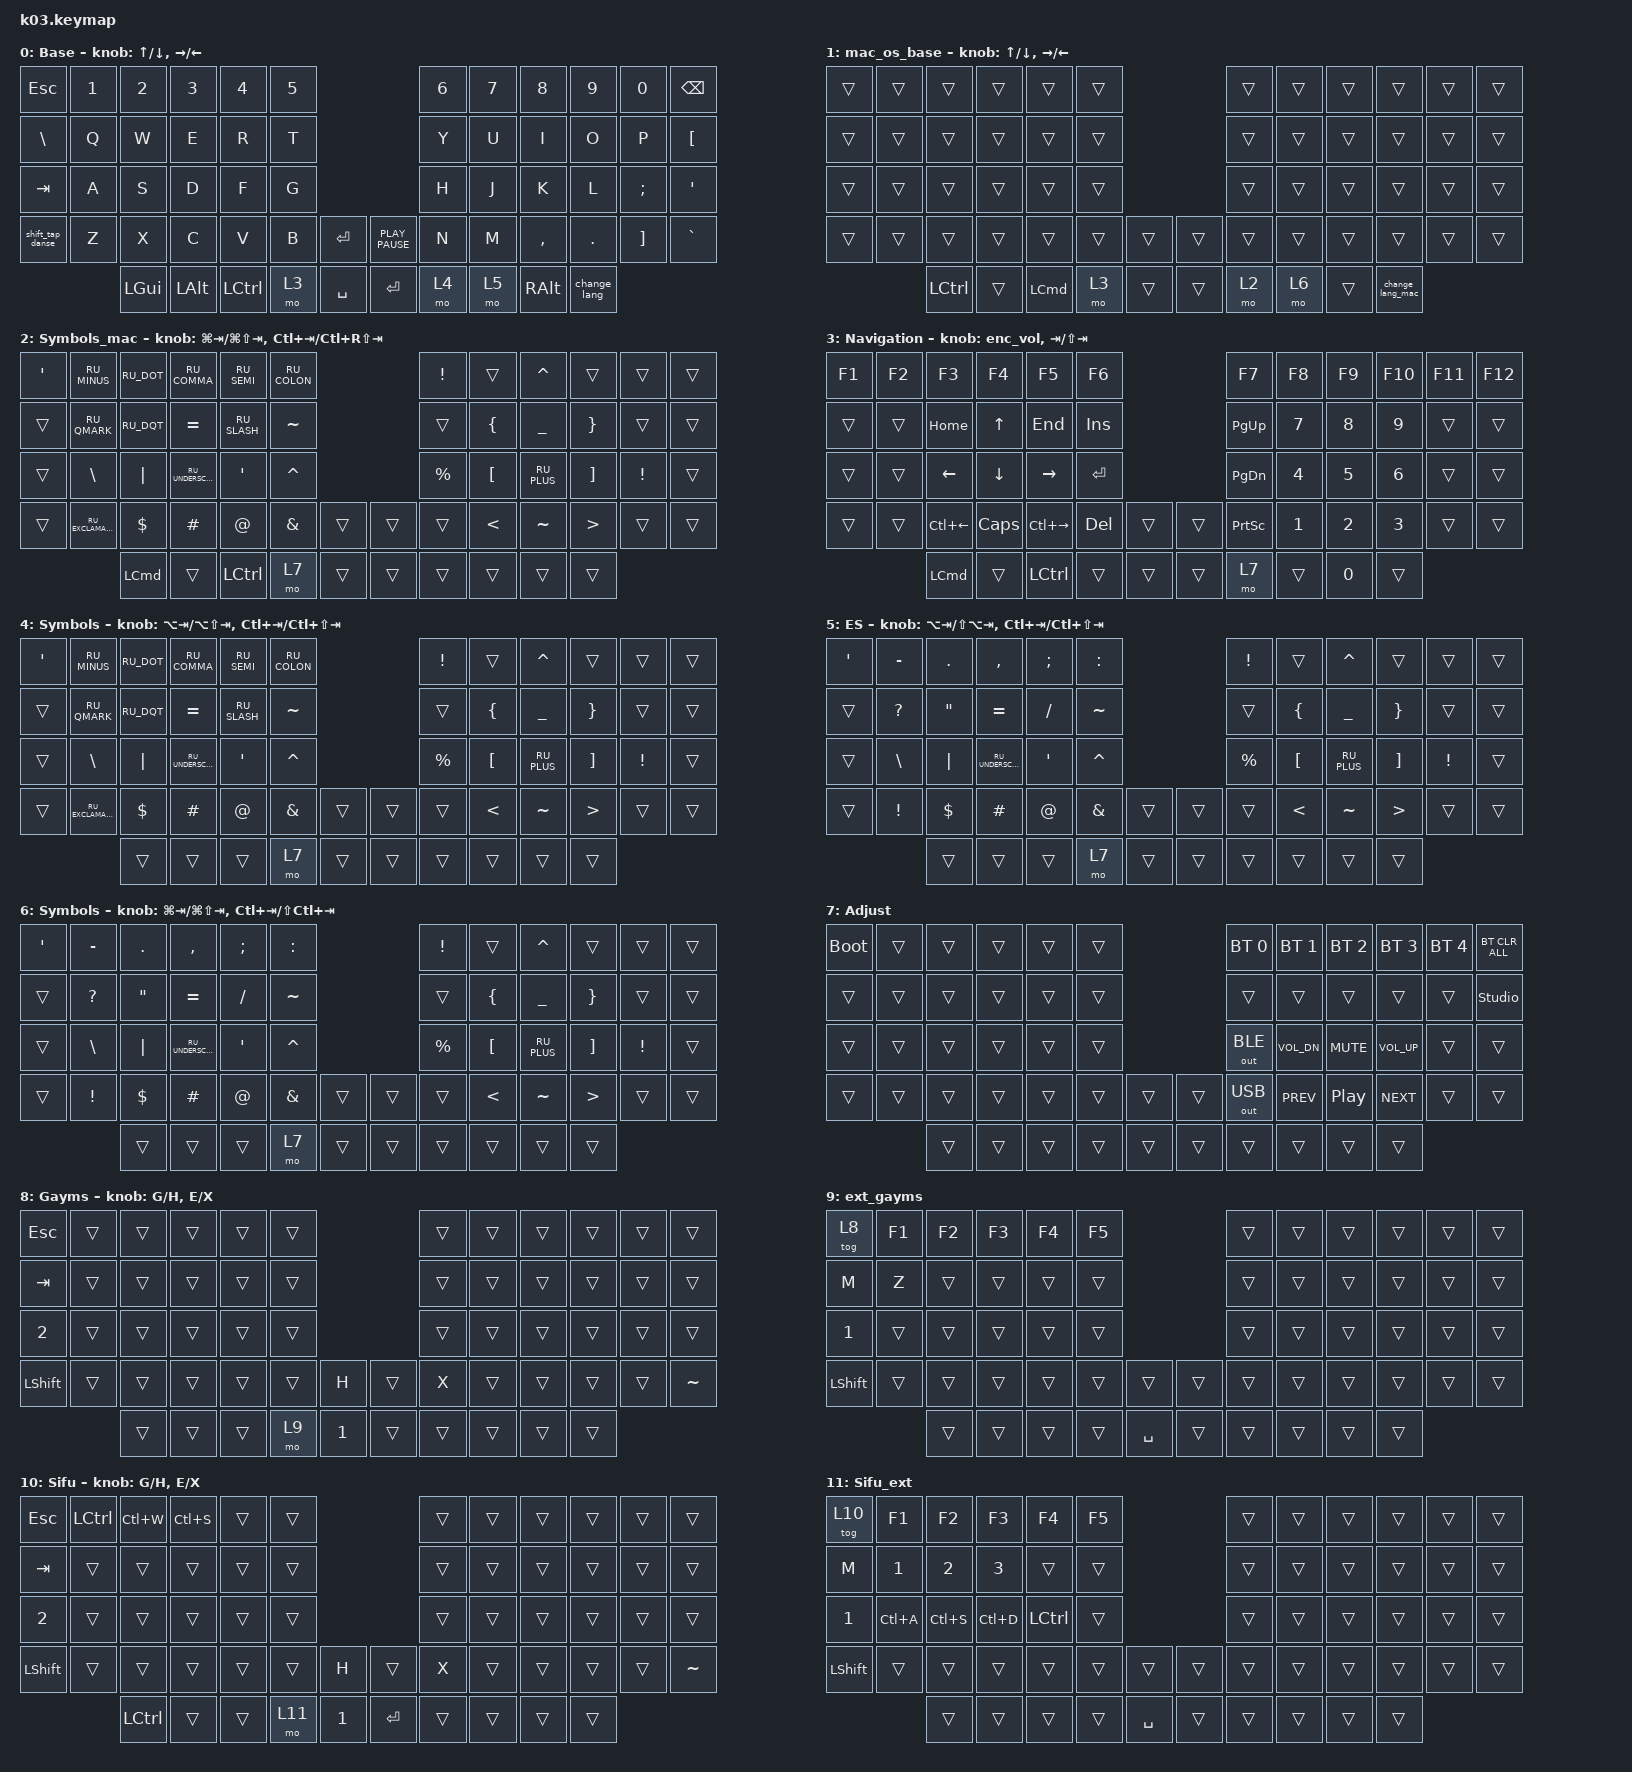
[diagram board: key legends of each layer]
#include "keys_ru.h"
#include <behaviors.dtsi>
#include <dt-bindings/zmk/bt.h>
#include <dt-bindings/zmk/keys.h>
#include <dt-bindings/zmk/outputs.h>

/ {
    behaviors {
        enc_vol: enc_vol {
            compatible = "zmk,behavior-sensor-rotate";
            label = "ENC_VOL";
            #sensor-binding-cells = <0>;
            bindings = <&kp C_VOL_UP>, <&kp C_VOL_DN>;

            tap-ms = <0>;
        };

        enc_up_down: enc_up_down {
            compatible = "zmk,behavior-sensor-rotate";
            label = "ENC_UP_DOWN";
            #sensor-binding-cells = <0>;
            bindings = <&kp UP>, <&kp DOWN>;

            tap-ms = <0>;
        };

        enc_left_right: enc_left_right {
            compatible = "zmk,behavior-sensor-rotate";
            label = "ENC_LEFT_RIGHT";
            #sensor-binding-cells = <0>;
            bindings = <&kp RIGHT>, <&kp LEFT>;

            tap-ms = <0>;
        };

        switch_window: switch_window {
            compatible = "zmk,behavior-sensor-rotate";
            label = "SWITCH_WINDOW";
            #sensor-binding-cells = <0>;
            bindings = <&kp LA(TAB)>, <&kp LS(LA(TAB))>;
        };

        switch_tab: switch_tab {
            compatible = "zmk,behavior-sensor-rotate";
            label = "SWITCH_TAB";
            #sensor-binding-cells = <0>;
            bindings = <&kp LC(TAB)>, <&kp LC(LS(TAB))>;
        };

        game_g_h: game_g_h {
            compatible = "zmk,behavior-sensor-rotate";
            label = "GAME_G_H";
            #sensor-binding-cells = <0>;
            bindings = <&kp G>, <&kp H>;
        };

        game_e_x: game_e_x {
            compatible = "zmk,behavior-sensor-rotate";
            label = "GAME_E_X";
            #sensor-binding-cells = <0>;
            bindings = <&kp E>, <&kp X>;
        };

        mac_switch_window: mac_switch_window {
            compatible = "zmk,behavior-sensor-rotate";
            label = "MAC_SWITCH_WINDOW";
            #sensor-binding-cells = <0>;
            bindings = <&kp LG(TAB)>, <&kp LG(LS(TAB))>;
        };

        enc_tabbing: enc_tabbing {
            compatible = "zmk,behavior-sensor-rotate";
            label = "ENC_TABBING";
            #sensor-binding-cells = <0>;
            bindings = <&kp TAB>, <&kp LS(TAB)>;
        };

        shift_tap_danse: shift_tap_danse {
            compatible = "zmk,behavior-tap-dance";
            label = "SHIFT_TAP_DANSE";
            #binding-cells = <0>;
            bindings = <&sk LSHFT>, <&kp LEFT_SHIFT>;
        };

        rotate_with_param: rotate_with_param {
            compatible = "zmk,behavior-sensor-rotate-var";
            label = "ROTATE_WITH_PARAM";
            #sensor-binding-cells = <2>;
            bindings = <&kp>, <&kp>;

            tap-ms = <0>;
        };
    };

    combos {
        compatible = "zmk,combos";

        dot_slash {
            bindings = <&dot_slash>;
            key-positions = <2 3>;
            layers = <0 1>;
        };
    };

    macros {
        change_lang: change_lang {
            compatible = "zmk,behavior-macro";
            #binding-cells = <0>;
            bindings = <&kp LG(SPACE)>;
            label = "CHANGE_LANG";
        };

        dot_slash: dot_slash {
            compatible = "zmk,behavior-macro";
            #binding-cells = <0>;
            bindings = <&kp RU_DOT &kp RU_SLASH>;
            label = "DOT_SLASH";
        };

        public_compleate: public_compleate {
            compatible = "zmk,behavior-macro";
            #binding-cells = <0>;
            bindings = <&kp P &kp U &kp B &kp L &kp I &kp C &kp SPACE>;
            label = "PUBLIC_COMPLEATE";
        };

        private_cmpl: private_cmpl {
            compatible = "zmk,behavior-macro";
            #binding-cells = <0>;
            bindings = <&kp P &kp R &kp I &kp V &kp A &kp T &kp E &kp SPACE>;
            label = "PRIVATE_CMPL";
        };

        static_cmpl: static_cmpl {
            compatible = "zmk,behavior-macro";
            #binding-cells = <0>;
            bindings = <&kp S &kp T &kp A &kp T &kp I &kp C &kp SPACE>;
            label = "STATIC_CMPL";
        };

        import_cmlp: import_cmlp {
            compatible = "zmk,behavior-macro";
            #binding-cells = <0>;
            bindings = <&kp I &kp M &kp P &kp O &kp R &kp T &kp SPACE>;
            label = "IMPORT_CMLP";
        };

        ternary_cmpl: ternary_cmpl {
            compatible = "zmk,behavior-macro";
            #binding-cells = <0>;
            bindings = <&kp QMARK &kp SPACE &kp SPACE &kp COLON &kp SPACE &kp LEFT &kp LEFT &kp LEFT>;
            label = "TERNARY_CMPL";
        };

        in_string_cmpl: in_string_cmpl {
            compatible = "zmk,behavior-macro";
            #binding-cells = <0>;
            bindings = <&kp BSLH &kp LPAR &kp RPAR &kp LEFT>;
            label = "IN_STRING_CMPL";
        };

        change_lang_mac: change_lang_mac {
            compatible = "zmk,behavior-macro";
            #binding-cells = <0>;
            bindings = <&kp LC(SPACE)>;
            label = "CHANGE_LANG_MAC";
        };
    };

    keymap {
        compatible = "zmk,keymap";

        base {
            bindings = <
&kp ESC           &kp N1  &kp N2    &kp N3    &kp N4     &kp N5                                 &kp N6  &kp N7  &kp N8     &kp N9        &kp N0             &kp BSPC
&kp BACKSLASH     &kp Q   &kp W     &kp E     &kp R      &kp T                                  &kp Y   &kp U   &kp I      &kp O         &kp P              &kp LEFT_BRACKET
&kp TAB           &kp A   &kp S     &kp D     &kp F      &kp G                                  &kp H   &kp J   &kp K      &kp L         &kp SEMI           &kp SQT
&shift_tap_danse  &kp Z   &kp X     &kp C     &kp V      &kp B   &kp ENTER    &kp K_PLAY_PAUSE  &kp N   &kp M   &kp COMMA  &kp DOT       &kp RIGHT_BRACKET  &kp GRAVE
                          &kp LGUI  &kp LALT  &kp LCTRL  &mo 3   &kp SPACE    &kp ENTER         &mo 4   &mo 5   &kp RALT   &change_lang
            >;

            display-name = "Base";
            sensor-bindings =
                <&rotate_with_param UP DOWN>,
                <&rotate_with_param RIGHT_ARROW LEFT_ARROW>;
        };

        mac_os_base {
            bindings = <
&trans  &trans  &trans     &trans  &trans    &trans                    &trans  &trans  &trans  &trans            &trans  &trans
&trans  &trans  &trans     &trans  &trans    &trans                    &trans  &trans  &trans  &trans            &trans  &trans
&trans  &trans  &trans     &trans  &trans    &trans                    &trans  &trans  &trans  &trans            &trans  &trans
&trans  &trans  &trans     &trans  &trans    &trans  &trans    &trans  &trans  &trans  &trans  &trans            &trans  &trans
                &kp LCTRL  &trans  &kp LCMD  &mo 3   &trans    &trans  &mo 2   &mo 6   &trans  &change_lang_mac
            >;

            sensor-bindings =
                <&rotate_with_param UP DOWN_ARROW>,
                <&rotate_with_param RIGHT LEFT_ARROW>;

            label = "mac_os_base";
        };

        sim_mac {
            display-name = "Symbols_mac";
            bindings = <
&kp APOSTROPHE  &kp RU_MINUS        &kp RU_DOT  &kp RU_COMMA       &kp RU_SEMI       &kp RU_COLON                     &kp EXCL   &trans            &kp CARET    &trans             &trans    &trans
&trans          &kp RU_QMARK        &kp RU_DQT  &kp EQUAL          &kp RU_SLASH      &kp TILDE                        &trans     &kp LEFT_BRACE    &kp UNDER    &kp RIGHT_BRACE    &trans    &trans
&trans          &kp BSLH            &kp PIPE    &kp RU_UNDERSCORE  &kp SINGLE_QUOTE  &kp CARET                        &kp PRCNT  &kp LEFT_BRACKET  &kp RU_PLUS  &kp RIGHT_BRACKET  &kp EXCL  &trans
&trans          &kp RU_EXCLAMATION  &kp DOLLAR  &kp HASH           &kp AT_SIGN       &kp AMPERSAND  &trans    &trans  &trans     &kp LESS_THAN     &kp TILDE    &kp GREATER_THAN   &trans    &trans
                                    &kp LCMD    &trans             &kp LCTRL         &mo 7          &trans    &trans  &trans     &trans            &trans       &trans
            >;

            sensor-bindings =
                <&rotate_with_param LG(TAB) LG(LS(TAB))>,
                <&rotate_with_param LC(TAB) LC(RS(TAB))>;
        };

        nav {
            display-name = "Navigation";
            sensor-bindings = <&enc_vol>, <&rotate_with_param TAB LS(TAB)>;

            bindings = <
&kp F1  &kp F2  &kp F3        &kp F4    &kp F5         &kp F6                     &kp F7           &kp F8  &kp F9  &kp F10  &kp F11  &kp F12
&trans  &trans  &kp HOME      &kp UP    &kp END        &kp INS                    &kp PG_UP        &kp N7  &kp N8  &kp N9   &trans   &trans
&trans  &trans  &kp LEFT      &kp DOWN  &kp RIGHT      &kp RET                    &kp PG_DN        &kp N4  &kp N5  &kp N6   &trans   &trans
&trans  &trans  &kp LC(LEFT)  &kp CAPS  &kp LC(RIGHT)  &kp DEL  &trans    &trans  &kp PRINTSCREEN  &kp N1  &kp N2  &kp N3   &trans   &trans
                &kp LCMD      &trans    &kp LCTRL      &trans   &trans    &trans  &mo 7            &trans  &kp N0  &trans
            >;
        };

        sym {
            bindings = <
&kp APOSTROPHE  &kp RU_MINUS        &kp RU_DOT  &kp RU_COMMA       &kp RU_SEMI       &kp RU_COLON                     &kp EXCL   &trans            &kp CARET    &trans             &trans    &trans
&trans          &kp RU_QMARK        &kp RU_DQT  &kp EQUAL          &kp RU_SLASH      &kp TILDE                        &trans     &kp LEFT_BRACE    &kp UNDER    &kp RIGHT_BRACE    &trans    &trans
&trans          &kp BSLH            &kp PIPE    &kp RU_UNDERSCORE  &kp SINGLE_QUOTE  &kp CARET                        &kp PRCNT  &kp LEFT_BRACKET  &kp RU_PLUS  &kp RIGHT_BRACKET  &kp EXCL  &trans
&trans          &kp RU_EXCLAMATION  &kp DOLLAR  &kp HASH           &kp AT_SIGN       &kp AMPERSAND  &trans    &trans  &trans     &kp LESS_THAN     &kp TILDE    &kp GREATER_THAN   &trans    &trans
                                    &trans      &trans             &trans            &mo 7          &trans    &trans  &trans     &trans            &trans       &trans
            >;

            display-name = "Symbols";
            sensor-bindings =
                <&rotate_with_param LA(TAB) LA(LS(TAB))>,
                <&rotate_with_param LC(TAB) LC(LS(TAB))>;
        };

        en_sym {
            display-name = "ES";
            bindings = <
&kp APOSTROPHE  &kp MINUS  &kp DOT     &kp COMMA          &kp SEMI          &kp COLON                        &kp EXCL   &trans            &kp CARET    &trans             &trans    &trans
&trans          &kp QMARK  &kp DQT     &kp EQUAL          &kp FSLH          &kp TILDE                        &trans     &kp LEFT_BRACE    &kp UNDER    &kp RIGHT_BRACE    &trans    &trans
&trans          &kp BSLH   &kp PIPE    &kp RU_UNDERSCORE  &kp SINGLE_QUOTE  &kp CARET                        &kp PRCNT  &kp LEFT_BRACKET  &kp RU_PLUS  &kp RIGHT_BRACKET  &kp EXCL  &trans
&trans          &kp EXCL   &kp DOLLAR  &kp HASH           &kp AT_SIGN       &kp AMPERSAND  &trans    &trans  &trans     &kp LESS_THAN     &kp TILDE    &kp GREATER_THAN   &trans    &trans
                           &trans      &trans             &trans            &mo 7          &trans    &trans  &trans     &trans            &trans       &trans
            >;

            sensor-bindings =
                <&rotate_with_param LA(TAB) LS(LA(TAB))>,
                <&rotate_with_param LC(TAB) LC(LS(TAB))>;

            label = "ESYM";
        };

        mac_en_sym {
            display-name = "Symbols";
            bindings = <
&kp APOSTROPHE  &kp MINUS  &kp DOT     &kp COMMA          &kp SEMI          &kp COLON                        &kp EXCL   &trans            &kp CARET    &trans             &trans    &trans
&trans          &kp QMARK  &kp DQT     &kp EQUAL          &kp FSLH          &kp TILDE                        &trans     &kp LEFT_BRACE    &kp UNDER    &kp RIGHT_BRACE    &trans    &trans
&trans          &kp BSLH   &kp PIPE    &kp RU_UNDERSCORE  &kp SINGLE_QUOTE  &kp CARET                        &kp PRCNT  &kp LEFT_BRACKET  &kp RU_PLUS  &kp RIGHT_BRACKET  &kp EXCL  &trans
&trans          &kp EXCL   &kp DOLLAR  &kp HASH           &kp AT_SIGN       &kp AMPERSAND  &trans    &trans  &trans     &kp LESS_THAN     &kp TILDE    &kp GREATER_THAN   &trans    &trans
                           &trans      &trans             &trans            &mo 7          &trans    &trans  &trans     &trans            &trans       &trans
            >;

            sensor-bindings =
                <&rotate_with_param LG(TAB) LG(LS(TAB))>,
                <&rotate_with_param LC(TAB) LS(LC(TAB))>;

            label = "ESMC";
        };

        adj {
            bindings = <
&bootloader  &trans  &trans  &trans  &trans  &trans                    &bt BT_SEL 0  &bt BT_SEL 1  &bt BT_SEL 2      &bt BT_SEL 3  &bt BT_SEL 4  &bt BT_CLR_ALL
&trans       &trans  &trans  &trans  &trans  &trans                    &trans        &trans        &trans            &trans        &trans        &studio_unlock
&trans       &trans  &trans  &trans  &trans  &trans                    &out OUT_BLE  &kp C_VOL_DN  &kp C_MUTE        &kp C_VOL_UP  &trans        &trans
&trans       &trans  &trans  &trans  &trans  &trans  &trans    &trans  &out OUT_USB  &kp C_PREV    &kp C_PLAY_PAUSE  &kp C_NEXT    &trans        &trans
                     &trans  &trans  &trans  &trans  &trans    &trans  &trans        &trans        &trans            &trans
            >;

            display-name = "Adjust";
        };

        games {
            bindings = <
&kp ESC       &trans  &trans  &trans  &trans  &trans                          &trans  &trans  &trans  &trans  &trans  &trans
&kp TAB       &trans  &trans  &trans  &trans  &trans                          &trans  &trans  &trans  &trans  &trans  &trans
&kp NUMBER_2  &trans  &trans  &trans  &trans  &trans                          &trans  &trans  &trans  &trans  &trans  &trans
&kp LSHFT     &trans  &trans  &trans  &trans  &trans  &kp H           &trans  &kp X   &trans  &trans  &trans  &trans  &kp TILDE
                      &trans  &trans  &trans  &mo 9   &kp NUMBER_1    &trans  &trans  &trans  &trans  &trans
            >;

            sensor-bindings =
                <&rotate_with_param G H>,
                <&rotate_with_param E X>;

            label = "Gayms";
        };

        ext_games {
            bindings = <
&tog 8     &kp F1  &kp F2  &kp F3  &kp F4  &kp F5                       &trans  &trans  &trans  &trans  &trans  &trans
&kp M      &kp Z   &trans  &trans  &trans  &trans                       &trans  &trans  &trans  &trans  &trans  &trans
&kp N1     &trans  &trans  &trans  &trans  &trans                       &trans  &trans  &trans  &trans  &trans  &trans
&kp LSHFT  &trans  &trans  &trans  &trans  &trans  &trans       &trans  &trans  &trans  &trans  &trans  &trans  &trans
                   &trans  &trans  &trans  &trans  &kp SPACE    &trans  &trans  &trans  &trans  &trans
            >;

            label = "ext_gayms";
        };

        Sifu {
            label = "Sifu";
            bindings = <
&kp ESC       &kp LCTRL  &kp LC(W)         &kp LC(S)  &trans  &trans                             &trans  &trans  &trans  &trans  &trans  &trans
&kp TAB       &trans     &trans            &trans     &trans  &trans                             &trans  &trans  &trans  &trans  &trans  &trans
&kp NUMBER_2  &trans     &trans            &trans     &trans  &trans                             &trans  &trans  &trans  &trans  &trans  &trans
&kp LSHFT     &trans     &trans            &trans     &trans  &trans  &kp H           &trans     &kp X   &trans  &trans  &trans  &trans  &kp TILDE
                         &kp LEFT_CONTROL  &trans     &trans  &mo 11  &kp NUMBER_1    &kp ENTER  &trans  &trans  &trans  &trans
            >;

            sensor-bindings =
                <&rotate_with_param G H>,
                <&rotate_with_param E X>;
        };

        Sifu_ext {
            label = "Sifu_ext";
            bindings = <
&tog 10    &kp F1     &kp F2        &kp F3        &kp F4     &kp F5                       &trans  &trans  &trans  &trans  &trans  &trans
&kp M      &kp N1     &kp NUMBER_2  &kp NUMBER_3  &trans     &trans                       &trans  &trans  &trans  &trans  &trans  &trans
&kp N1     &kp LC(A)  &kp LC(S)     &kp LC(D)     &kp LCTRL  &trans                       &trans  &trans  &trans  &trans  &trans  &trans
&kp LSHFT  &trans     &trans        &trans        &trans     &trans  &trans       &trans  &trans  &trans  &trans  &trans  &trans  &trans
                      &trans        &trans        &trans     &trans  &kp SPACE    &trans  &trans  &trans  &trans  &trans
            >;
        };
    };
};
